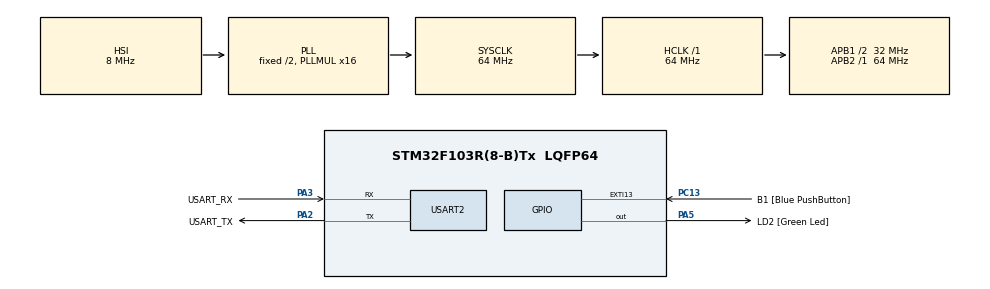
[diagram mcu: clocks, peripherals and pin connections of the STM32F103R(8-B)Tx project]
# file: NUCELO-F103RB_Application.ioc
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Mcu.Family=STM32F1
Mcu.Name=STM32F103R(8-B)Tx
Mcu.Package=LQFP64
NVIC.EXTI15_10_IRQn=true\:0\:0\:false\:false\:true\:true\:true\:true
NVIC.PriorityGroup=NVIC_PRIORITYGROUP_4
PA13.GPIO_Label=TMS
PA13.Mode=Serial_Wire
PA13.Signal=SYS_JTMS-SWDIO
PA14.GPIO_Label=TCK
PA14.Mode=Serial_Wire
PA14.Signal=SYS_JTCK-SWCLK
PA2.GPIO_Label=USART_TX
PA2.GPIO_Mode=GPIO_MODE_AF_PP
PA2.GPIO_PuPd=GPIO_NOPULL
PA2.GPIO_Speed=GPIO_SPEED_FREQ_LOW
PA2.Mode=Asynchronous
PA2.Signal=USART2_TX
PA3.GPIO_Label=USART_RX
PA3.GPIO_Mode=GPIO_MODE_AF_PP
PA3.GPIO_PuPd=GPIO_NOPULL
PA3.GPIO_Speed=GPIO_SPEED_FREQ_LOW
PA3.Mode=Asynchronous
PA3.Signal=USART2_RX
PA5.GPIO_Label=LD2 [Green Led]
PA5.GPIO_ModeDefaultOutputPP=GPIO_MODE_OUTPUT_PP
PA5.GPIO_PuPd=GPIO_NOPULL
PA5.GPIO_Speed=GPIO_SPEED_FREQ_LOW
PA5.Signal=GPIO_Output
PB3.GPIO_Label=SWO
PB3.Signal=SYS_JTDO-TRACESWO
PC13-TAMPER-RTC.GPIO_Label=B1 [Blue PushButton]
PC13-TAMPER-RTC.GPIO_PuPd=GPIO_NOPULL
PC13-TAMPER-RTC.Signal=GPXTI13
PC14-OSC32_IN.Mode=LSE-External-Oscillator
PC14-OSC32_IN.Signal=RCC_OSC32_IN
PC15-OSC32_OUT.Mode=LSE-External-Oscillator
PC15-OSC32_OUT.Signal=RCC_OSC32_OUT
PD0-OSC_IN.Mode=HSE-External-Clock-Source
PD0-OSC_IN.Signal=RCC_OSC_IN
PD1-OSC_OUT.Mode=HSE-External-Clock-Source
PD1-OSC_OUT.Signal=RCC_OSC_OUT
ProjectManager.HeapSize=0x200
ProjectManager.StackSize=0x400
ProjectManager.TargetToolchain=STM32CubeIDE
RCC.AHBFreq_Value=64000000
RCC.APB1CLKDivider=RCC_HCLK_DIV2
RCC.APB1Freq_Value=32000000
RCC.APB1TimFreq_Value=64000000
RCC.APB2Freq_Value=64000000
RCC.APB2TimFreq_Value=64000000
RCC.HCLKFreq_Value=64000000
RCC.PLLMUL=RCC_PLL_MUL16
RCC.RTCClockSelection=RCC_RTCCLKSOURCE_LSE
RCC.SYSCLKFreq_VALUE=64000000
RCC.SYSCLKSource=RCC_SYSCLKSOURCE_PLLCLK
RCC.USBFreq_Value=64000000
USART2.VirtualMode=VM_ASYNC
board=NUCLEO-F103RB

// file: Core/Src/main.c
/* USER CODE BEGIN Header */
/**
  ******************************************************************************
  * @file           : main.c
  * @brief          : Main program body
  ******************************************************************************
  * @attention
  *
  * Copyright (c) 2025 STMicroelectronics.
  * All rights reserved.
  *
  * This software is licensed under terms that can be found in the LICENSE file
  * in the root directory of this software component.
  * If no LICENSE file comes with this software, it is provided AS-IS.
  *
  ******************************************************************************
  */
/* USER CODE END Header */
#include "main.h"

/* USER CODE BEGIN Includes */
#include <stdio.h>
/* USER CODE END Includes */

UART_HandleTypeDef huart2;

void SystemClock_Config(void);
static void MX_GPIO_Init(void);
static void MX_USART2_UART_Init(void);

/* USER CODE BEGIN 0 */
struct BootloaderSharedAPI
{
	void(*Blink)(uint32_t dlyticks);
	void(*TurnOn)(void);
	void(*TurnOff)(void);
};

int _write(int file, char *ptr, int len)
{
	int DataIdx;

	for(DataIdx=0; DataIdx<len; DataIdx++)
	{
		HAL_UART_Transmit(&huart2, (uint8_t *)ptr++, 1, 100);
	}
	return len;
}
/* USER CODE END 0 */

int main(void)
{

  /* USER CODE BEGIN 1 */
	struct BootloaderSharedAPI *api = (struct BootloaderSharedAPI *)0x8018000;
  /* USER CODE END 1 */

  /* MCU Configuration--------------------------------------------------------*/

  /* Reset of all peripherals, Initializes the Flash interface and the Systick. */
  HAL_Init();

  /* Configure the system clock */
  SystemClock_Config();

  /* Initialize all configured peripherals */
  MX_GPIO_Init();
  MX_USART2_UART_Init();

  /* Infinite loop */
  /* USER CODE BEGIN WHILE */
  printf("App starting\r\n");
  while (1)
  {
    /* USER CODE END WHILE */

    /* USER CODE BEGIN 3 */
	  //printf("App running\r\n");
	  api->TurnOff();
	  HAL_Delay(50);
	  api->TurnOn();
	  HAL_Delay(50);
  }
  /* USER CODE END 3 */
}

void SystemClock_Config(void)
{
  RCC_OscInitTypeDef RCC_OscInitStruct = {0};
  RCC_ClkInitTypeDef RCC_ClkInitStruct = {0};

  /** Initializes the RCC Oscillators according to the specified parameters
  * in the RCC_OscInitTypeDef structure.
  */
  RCC_OscInitStruct.OscillatorType = RCC_OSCILLATORTYPE_HSI;
  RCC_OscInitStruct.HSIState = RCC_HSI_ON;
  RCC_OscInitStruct.HSICalibrationValue = RCC_HSICALIBRATION_DEFAULT;
  RCC_OscInitStruct.PLL.PLLState = RCC_PLL_ON;
  RCC_OscInitStruct.PLL.PLLSource = RCC_PLLSOURCE_HSI_DIV2;
  RCC_OscInitStruct.PLL.PLLMUL = RCC_PLL_MUL16;
  if (HAL_RCC_OscConfig(&RCC_OscInitStruct) != HAL_OK)
  {
    Error_Handler();
  }

  /** Initializes the CPU, AHB and APB buses clocks
  */
  RCC_ClkInitStruct.ClockType = RCC_CLOCKTYPE_HCLK|RCC_CLOCKTYPE_SYSCLK
                              |RCC_CLOCKTYPE_PCLK1|RCC_CLOCKTYPE_PCLK2;
  RCC_ClkInitStruct.SYSCLKSource = RCC_SYSCLKSOURCE_PLLCLK;
  RCC_ClkInitStruct.AHBCLKDivider = RCC_SYSCLK_DIV1;
  RCC_ClkInitStruct.APB1CLKDivider = RCC_HCLK_DIV2;
  RCC_ClkInitStruct.APB2CLKDivider = RCC_HCLK_DIV1;

  if (HAL_RCC_ClockConfig(&RCC_ClkInitStruct, FLASH_LATENCY_2) != HAL_OK)
  {
    Error_Handler();
  }
}

static void MX_USART2_UART_Init(void)
{

  huart2.Instance = USART2;
  huart2.Init.BaudRate = 115200;
  huart2.Init.WordLength = UART_WORDLENGTH_8B;
  huart2.Init.StopBits = UART_STOPBITS_1;
  huart2.Init.Parity = UART_PARITY_NONE;
  huart2.Init.Mode = UART_MODE_TX_RX;
  huart2.Init.HwFlowCtl = UART_HWCONTROL_NONE;
  huart2.Init.OverSampling = UART_OVERSAMPLING_16;
  if (HAL_UART_Init(&huart2) != HAL_OK)
  {
    Error_Handler();
  }

}

static void MX_GPIO_Init(void)
{
  GPIO_InitTypeDef GPIO_InitStruct = {0};

  /* GPIO Ports Clock Enable */
  __HAL_RCC_GPIOC_CLK_ENABLE();
  __HAL_RCC_GPIOD_CLK_ENABLE();
  __HAL_RCC_GPIOA_CLK_ENABLE();
  __HAL_RCC_GPIOB_CLK_ENABLE();

  /*Configure GPIO pin Output Level */
  HAL_GPIO_WritePin(LD2_GPIO_Port, LD2_Pin, GPIO_PIN_RESET);

  /*Configure GPIO pin : B1_Pin */
  GPIO_InitStruct.Pin = B1_Pin;
  GPIO_InitStruct.Mode = GPIO_MODE_IT_RISING;
  GPIO_InitStruct.Pull = GPIO_NOPULL;
  HAL_GPIO_Init(B1_GPIO_Port, &GPIO_InitStruct);

  /*Configure GPIO pin : LD2_Pin */
  GPIO_InitStruct.Pin = LD2_Pin;
  GPIO_InitStruct.Mode = GPIO_MODE_OUTPUT_PP;
  GPIO_InitStruct.Pull = GPIO_NOPULL;
  GPIO_InitStruct.Speed = GPIO_SPEED_FREQ_LOW;
  HAL_GPIO_Init(LD2_GPIO_Port, &GPIO_InitStruct);

  /* EXTI interrupt init*/
  HAL_NVIC_SetPriority(EXTI15_10_IRQn, 0, 0);
  HAL_NVIC_EnableIRQ(EXTI15_10_IRQn);

}

void Error_Handler(void)
{
  __disable_irq();
  while (1)
  {
  }
}
